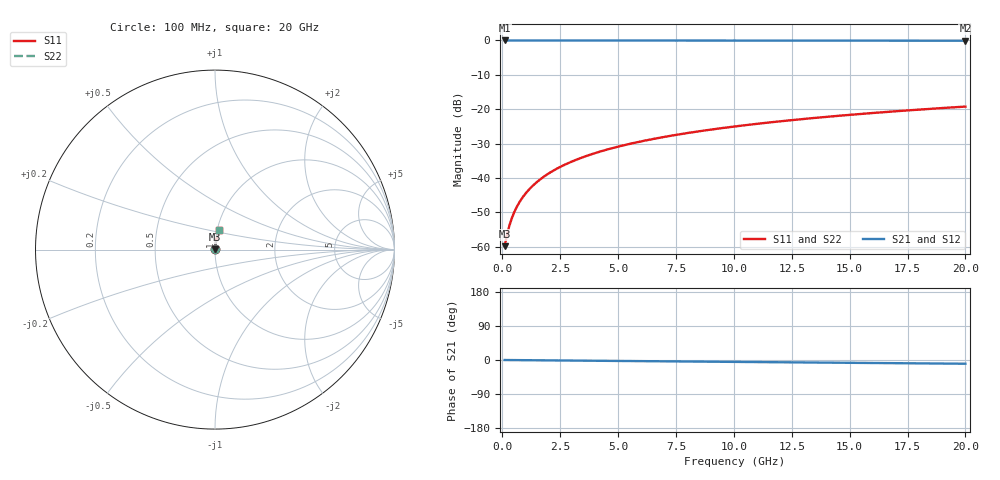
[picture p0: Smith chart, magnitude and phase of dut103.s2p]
! Touchstone file exported from HFSS 2026.1.0
!  File:  C:/ffzhzh/LocalFiles/Ansys_Project_Files/temp_train_BSMRDL_103_1782985719_45328.aedt
!  Generated:  05:49:49 PM Jul  2, 2026
!  Design:  BSMRDL
!  Project:  temp_train_BSMRDL_103_1782985719_45328
! Variables:
!  h_bsmrdl = 5.65um
!  h_ox = 20um
!  h_rdl = 5um
!  h_sub = 80um
!  h_tmrdl = 5um
!  h_tsv = 80um
!  h_via = 3um
!  l_bsmrdl = 116.62um
!  l_sub = 516.62um
!  l_tmrdl = 200um
!  m_sub = 200um
!  pitch = 33.04um
!  r_tsv = 6um
!  s_tmrdl = 10um
!  w_bsmrdl = 10.1um
!  w_sub = 500um
!  w_tmrdl = 12um
!  x_tsv_center1 = 206um
!  x_tsv_center2 = 332.72um
!  x_tsv_center3 = 544.72um
!  x_tsv_center4 = 671.44um
!  x_tsv_center5 = 883.44um
!  x_tsv_center6 = 1010.16um
# GHz S MA R 50.000000
! Terminal data exported
! Port[1] = BSM_RDL1_1_T1
! Port[2] = BSM_RDL1_1_T2
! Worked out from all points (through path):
!   200 points, 100 MHz to 20 GHz, reference 50 ohm
!   highest |S21| = -0.01 dB at 100 MHz (marker M1); lowest = -0.1 dB at 20 GHz (marker M2)
!   group delay of S21, straight-line fit = 1.36 ps
!   lowest |S11| = -59.9 dB at 100 MHz (marker M3), VSWR 1.00, Z = 50.1 + j0.0605 ohm
!   |S11| at or under -10 dB: start of sweep to end of sweep
!   |S22| runs from -59.9 to -19.2 dB; largest |S21 - S12| = 3.1e-15
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0.1  0.001017 36.5  0.9992 -0.1  0.9992 -0.1  0.001017 36.5
! Gamma 0 0 0 0
! Port Impedance 50 0 50 0
0.2  0.001464 55.2  0.9992 -0.1  0.9992 -0.1  0.001464 55.2
0.3  0.001987 64.4  0.9991 -0.2  0.9991 -0.2  0.001987 64.4
0.4  0.002532 69.6  0.9991 -0.2  0.9991 -0.2  0.002532 69.6
0.5  0.003086 73.0  0.9991 -0.3  0.9991 -0.3  0.003086 73.0
0.6  0.003645 75.3  0.9991 -0.3  0.9991 -0.3  0.003645 75.3
0.8  0.004771 78.3  0.9991 -0.4  0.9991 -0.4  0.004771 78.3
1.1  0.006472 80.8  0.999 -0.6  0.999 -0.6  0.006472 80.8
1.5  0.008752 82.6  0.9989 -0.8  0.9989 -0.8  0.008752 82.6
1.8  0.01046 83.3  0.9989 -0.9  0.9989 -0.9  0.01046 83.3
2.1  0.01217 83.8  0.9988 -1.1  0.9988 -1.1  0.01217 83.8
2.7  0.01559 84.2  0.9987 -1.4  0.9987 -1.4  0.01559 84.2
3.5  0.02011 84.4  0.9985 -1.8  0.9985 -1.8  0.02011 84.4
4.2  0.02405 84.4  0.9982 -2.1  0.9982 -2.1  0.02405 84.4
5  0.02851 84.2  0.998 -2.5  0.998 -2.5  0.02851 84.2
5.9  0.03349 83.9  0.9976 -3.0  0.9976 -3.0  0.03349 83.9
6.8  0.03844 83.6  0.9973 -3.4  0.9973 -3.4  0.03844 83.6
8.3  0.04663 83.1  0.9967 -4.2  0.9967 -4.2  0.04663 83.1
10.1  0.05638 82.4  0.9959 -5.0  0.9959 -5.0  0.05638 82.4
13.4  0.07413 81.1  0.9943 -6.6  0.9943 -6.6  0.07413 81.1
16.7  0.09171 79.7  0.9925 -8.2  0.9925 -8.2  0.09171 79.7
20  0.1091 78.3  0.9904 -9.8  0.9904 -9.8  0.1091 78.3
